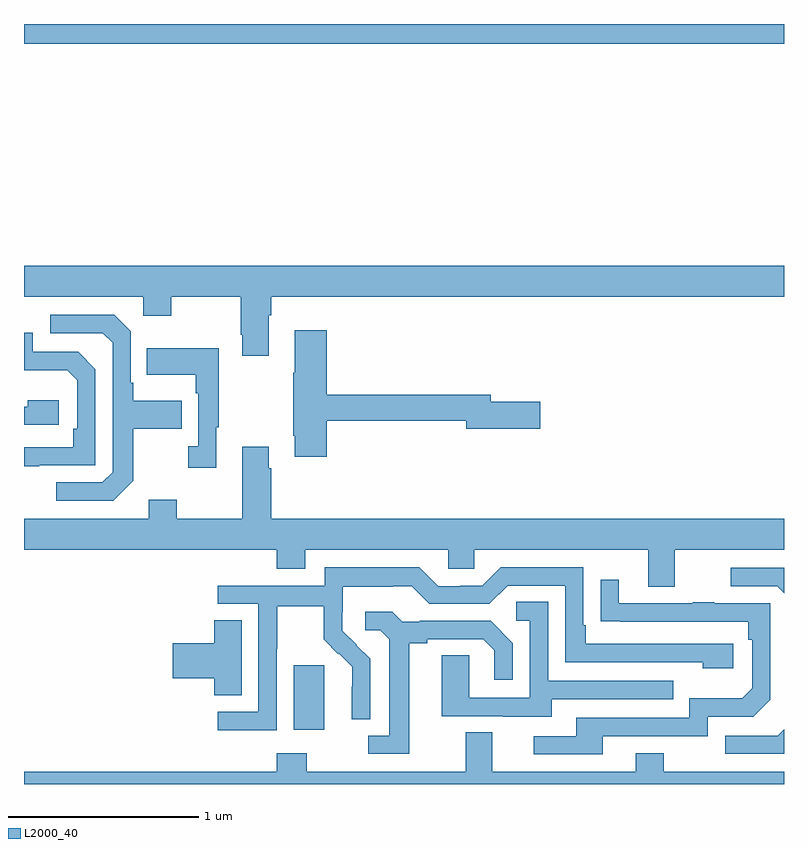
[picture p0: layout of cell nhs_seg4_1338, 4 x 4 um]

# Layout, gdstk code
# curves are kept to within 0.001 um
import gdstk
lib = gdstk.Library(unit=1e-6, precision=1e-09)
def R(c, l, rs):  # rectangles x0, y0, x1, y1
    for r in rs: c.add(gdstk.rectangle(r[:2], r[2:], *l))
def P(c, l, *ps):  # polygons
    for p in ps: c.add(gdstk.Polygon(p, *l))
L2000_40 = (2000, 40)

nhs_seg4_1338 = lib.new_cell('nhs_seg4_1338')
R(nhs_seg4_1338, L2000_40, [(180.419,817.185,180.58,817.525), (179,820.796,183,820.9)])
P(nhs_seg4_1338, L2000_40, [(180.289,819.368),(180.302,819.368),(180.302,819.464),(183,819.464),(183,819.628),(179,819.628),(179,819.464),(179.628,819.464),(179.628,819.365),(179.775,819.365),(179.775,819.464),(180.142,819.464),(180.142,819.265),(180.149,819.265),(180.149,819.153),(180.289,819.153)],
  [(179.575,818.497),(179.575,818.77),(179.831,818.77),(179.831,818.917),(179.575,818.917),(179.575,819.013),(179.562,819.013),(179.562,819.282),(179.475,819.369),(179.139,819.369),(179.139,819.273),(179.415,819.273),(179.466,819.222),(179.466,818.541),(179.412,818.487),(179.169,818.487),(179.169,818.391),(179.469,818.391)],
  [(180.593,818.812),(181.328,818.812),(181.328,818.77),(181.717,818.77),(181.717,818.912),(181.456,818.912),(181.456,818.948),(180.593,818.948),(180.593,819.289),(180.425,819.289),(180.425,819.065),(180.418,819.065),(180.418,818.734),(180.425,818.734),(180.425,818.622),(180.593,818.622)],
  [(179.081,818.577),(179.376,818.577),(179.376,819.084),(179.286,819.174),(179.046,819.174),(179.046,819.276),(179,819.276),(179,819.077),(179.227,819.077),(179.28,819.024),(179.28,818.77),(179.26,818.77),(179.26,818.673),(179,818.673),(179,818.572),(179.081,818.572)],
  [(180.013,818.777),(180.025,818.777),(180.025,819.193),(179.647,819.193),(179.647,819.053),(179.904,819.053),(179.904,818.957),(179.916,818.957),(179.916,818.678),(179.865,818.678),(179.865,818.565),(180.013,818.565)],
  [(179.182,818.92),(179.021,818.92),(179.021,818.886),(179,818.886),(179,818.79),(179.182,818.79)],
  [(182.425,818.132),(183,818.132),(183,818.296),(180.302,818.296),(180.302,818.561),(180.289,818.561),(180.289,818.674),(180.149,818.674),(180.149,818.296),(179.805,818.296),(179.805,818.395),(179.657,818.395),(179.657,818.296),(179,818.296),(179,818.132),(180.329,818.132),(180.329,818.033),(180.481,818.033),(180.481,818.132),(181.233,818.132),(181.233,818.034),(181.371,818.034),(181.371,818.132),(182.285,818.132),(182.285,817.938),(182.425,817.938)],
  [(180.33,817.612),(180.333,817.612),(180.333,817.836),(180.577,817.836),(180.577,817.661),(180.654,817.584),(180.657,817.587),(180.728,817.517),(180.728,817.412),(180.725,817.412),(180.725,817.24),(180.822,817.24),(180.822,817.558),(180.676,817.706),(180.676,817.803),(180.678,817.803),(180.678,817.937),(180.941,817.937),(180.941,817.941),(181.041,817.941),(181.134,817.848),(181.449,817.848),(181.545,817.944),(181.848,817.944),(181.848,817.542),(182.573,817.542),(182.573,817.508),(182.734,817.508),(182.734,817.638),(181.957,817.638),(181.957,817.735),(181.944,817.735),(181.944,818.04),(181.509,818.04),(181.413,817.944),(181.295,817.944),(181.295,817.941),(181.179,817.941),(181.079,818.041),(180.582,818.041),(180.582,817.944),(180.021,817.944),(180.021,817.848),(180.234,817.848),(180.234,817.281),(180.021,817.281),(180.021,817.183),(180.33,817.183)],
  [(183,818.037),(182.721,818.037),(182.721,817.941),(182.964,817.941),(183,817.905)],
  [(182.047,817.152),(182.598,817.152),(182.598,817.254),(182.838,817.254),(182.928,817.344),(182.928,817.851),(182.633,817.851),(182.633,817.856),(182.521,817.856),(182.521,817.851),(182.131,817.851),(182.131,817.975),(182.035,817.975),(182.035,817.756),(182.812,817.755),(182.812,817.658),(182.832,817.658),(182.832,817.404),(182.779,817.351),(182.502,817.351),(182.502,817.248),(181.907,817.248),(181.907,817.152),(181.683,817.152),(181.683,817.056),(182.047,817.056)],
  [(181.777,817.347),(182.417,817.347),(182.417,817.443),(181.758,817.443),(181.758,817.859),(181.59,817.859),(181.59,817.758),(181.662,817.758),(181.662,817.353),(181.344,817.353),(181.344,817.577),(181.199,817.577),(181.199,817.257),(181.523,817.257),(181.523,817.253),(181.777,817.253)],
  [(181.027,817.64),(181.123,817.64),(181.123,817.662),(181.418,817.662),(181.475,817.605),(181.475,817.449),(181.572,817.449),(181.572,817.642),(181.456,817.758),(181.084,817.758),(181.084,817.755),(180.99,817.755),(180.938,817.807),(180.795,817.807),(180.795,817.71),(180.876,817.71),(180.923,817.663),(180.923,817.155),(180.813,817.155),(180.813,817.059),(181.027,817.059)],
  [(180.145,817.763),(180.002,817.763),(180.002,817.64),(179.784,817.64),(179.784,817.457),(180.002,817.457),(180.002,817.366),(180.145,817.366)],
  [(183,817.188),(182.967,817.155),(182.691,817.155),(182.691,817.059),(183,817.059)],
  [(183,816.964),(182.367,816.964),(182.367,817.063),(182.219,817.063),(182.219,816.964),(181.465,816.964),(181.465,817.172),(181.325,817.172),(181.325,816.964),(180.489,816.964),(180.489,817.063),(180.329,817.063),(180.329,816.964),(179,816.964),(179,816.9),(183,816.9)])

lib.write_gds('nhs_seg4_1338.gds')
